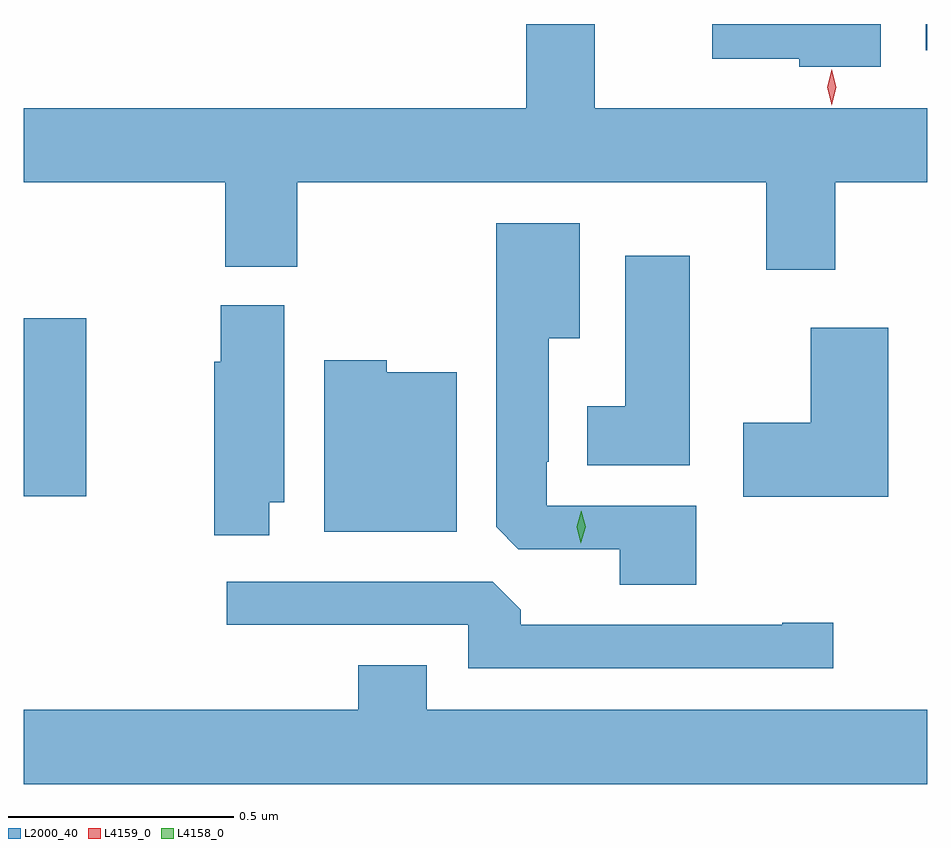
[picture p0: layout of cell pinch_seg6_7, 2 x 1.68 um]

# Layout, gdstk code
import gdstk
lib = gdstk.Library(unit=1e-6, precision=1e-09)
def R(c, l, rs):  # rectangles x0, y0, x1, y1
    for r in rs: c.add(gdstk.rectangle(r[:2], r[2:], *l))
def P(c, l, *ps):  # polygons
    for p in ps: c.add(gdstk.Polygon(p, *l))
L2000_40 = (2000, 40)
L4158_0 = (4158, 0)
L4159_0 = (4159, 0)

pinch_seg6_7 = lib.new_cell('pinch_seg6_7')
R(pinch_seg6_7, L2000_40, [(1084.665,974.613,1084.804,975.007), (1086.662,975.6,1086.665,975.658)])
P(pinch_seg6_7, L2000_40, [(1086.461,975.308),(1086.665,975.308),(1086.665,975.472),(1085.929,975.472),(1085.929,975.658),(1085.777,975.658),(1085.777,975.472),(1084.665,975.472),(1084.665,975.308),(1085.111,975.308),(1085.111,975.121),(1085.271,975.121),(1085.271,975.308),(1086.308,975.308),(1086.308,975.114),(1086.461,975.114)],
  [(1086.562,975.658),(1086.189,975.658),(1086.189,975.581),(1086.381,975.581),(1086.381,975.563),(1086.562,975.563)],
  [(1086.154,974.592),(1085.823,974.592),(1085.823,974.689),(1085.827,974.689),(1085.827,974.963),(1085.896,974.963),(1085.896,975.217),(1085.711,975.217),(1085.711,974.545),(1085.76,974.496),(1085.984,974.496),(1085.984,974.417),(1086.154,974.417)],
  [(1086.139,975.145),(1085.996,975.145),(1085.996,974.812),(1085.912,974.812),(1085.912,974.681),(1086.139,974.681)],
  [(1085.209,974.6),(1085.242,974.6),(1085.242,975.036),(1085.101,975.036),(1085.101,974.91),(1085.087,974.91),(1085.087,974.526),(1085.209,974.526)],
  [(1086.578,974.986),(1086.407,974.986),(1086.407,974.775),(1086.258,974.775),(1086.258,974.612),(1086.578,974.612)],
  [(1085.623,974.887),(1085.469,974.887),(1085.469,974.914),(1085.33,974.914),(1085.33,974.534),(1085.623,974.534)],
  [(1086.457,974.333),(1086.344,974.333),(1086.344,974.328),(1085.765,974.328),(1085.765,974.362),(1085.703,974.424),(1085.115,974.424),(1085.115,974.328),(1085.649,974.328),(1085.649,974.232),(1086.457,974.232)],
  [(1086.665,974.14),(1085.557,974.14),(1085.557,974.239),(1085.405,974.239),(1085.405,974.14),(1084.665,974.14),(1084.665,973.976),(1086.665,973.976)])
P(pinch_seg6_7, L4158_0, [(1085.898,974.509),(1085.898,974.509),(1085.889,974.545),(1085.899,974.581),(1085.899,974.581),(1085.899,974.581),(1085.909,974.545),(1085.898,974.509)])
P(pinch_seg6_7, L4159_0, [(1086.453,975.478),(1086.453,975.478),(1086.443,975.518),(1086.453,975.558),(1086.453,975.558),(1086.453,975.558),(1086.463,975.518),(1086.453,975.478)])

lib.write_gds('pinch_seg6_7.gds')
